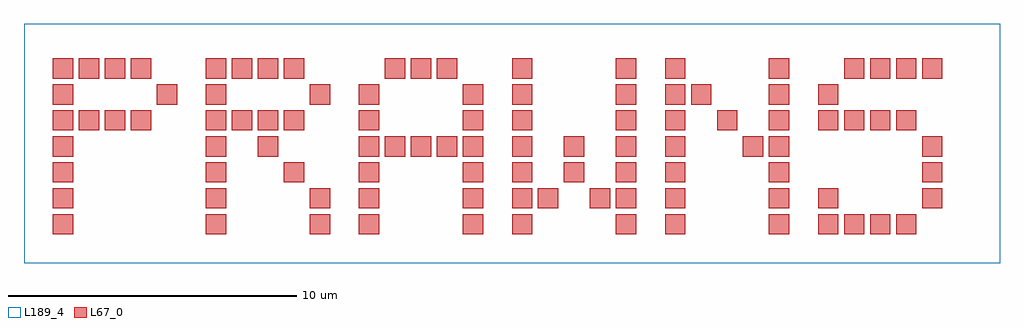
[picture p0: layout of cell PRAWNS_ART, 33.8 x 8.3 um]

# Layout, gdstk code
import gdstk
lib = gdstk.Library(unit=1e-6, precision=1e-09)
def R(c, l, rs):  # rectangles x0, y0, x1, y1
    for r in rs: c.add(gdstk.rectangle(r[:2], r[2:], *l))
def A(c, l, x, y, w, h, nx, ny, dx, dy):  # array of equal rectangles
    R(c, l, [(x+i*dx, y+j*dy, x+i*dx+w, y+j*dy+h) for i in range(nx) for j in range(ny)])
L67_0 = (67, 0)
L189_4 = (189, 4)

prawns_art = lib.new_cell('PRAWNS_ART')
A(prawns_art, L67_0, 11.6, 1, 0.699, 0.7, 3, 2, 5.3, 0.899)
A(prawns_art, L67_0, 13.399, 3.699, 0.7, 0.7, 3, 1, 0.9, 0)
A(prawns_art, L67_0, 11.6, 4.6, 0.699, 0.7, 3, 2, 5.3, 0.9)
R(prawns_art, L67_0, [(1,1,1.7,1.7), (6.3,1,7,1.7), (9.899,1,10.599,1.7), (15.199,1,15.899,1.7), (20.5,1,21.2,1.7), (25.799,1,26.499,1.7), (27.5,1,28.2,1.7), (28.399,1,29.099,1.7), (29.3,1,30,1.7), (30.2,1,30.899,1.7), (1,1.899,1.7,2.599), (6.3,1.899,7,2.599), (9.899,1.899,10.599,2.599), (15.199,1.899,15.899,2.599), (17.799,1.899,18.499,2.599), (19.599,1.899,20.299,2.599), (20.5,1.899,21.2,2.599), (25.799,1.899,26.499,2.599), (27.5,1.899,28.2,2.599), (31.1,1.899,31.8,2.599), (1,2.799,1.7,3.5), (6.3,2.799,7,3.5), (9,2.799,9.699,3.5), (11.6,2.799,12.299,3.5), (15.199,2.799,15.899,3.5), (16.9,2.799,17.599,3.5), (18.7,2.799,19.399,3.5), (20.5,2.799,21.2,3.5), (22.2,2.799,22.899,3.5), (25.799,2.799,26.499,3.5), (31.1,2.799,31.8,3.5), (1,3.699,1.7,4.399), (6.3,3.699,7,4.399), (8.099,3.699,8.799,4.399), (11.6,3.699,12.299,4.399), (12.5,3.699,13.199,4.399), (16.9,3.699,17.599,4.399), (18.7,3.699,19.399,4.399), (20.5,3.699,21.2,4.399), (22.2,3.699,22.899,4.399), (24.899,3.699,25.599,4.399), (25.799,3.699,26.499,4.399), (31.1,3.699,31.8,4.399), (1,4.6,1.7,5.3), (1.899,4.6,2.599,5.3), (2.799,4.6,3.5,5.3), (3.699,4.6,4.399,5.3), (6.3,4.6,7,5.3), (7.199,4.6,7.899,5.3), (8.099,4.6,8.799,5.3), (9,4.6,9.699,5.3), (15.199,4.6,15.899,5.3), (20.5,4.6,21.2,5.3), (24,4.6,24.7,5.3), (25.799,4.6,26.499,5.3), (27.5,4.6,28.2,5.3), (28.399,4.6,29.099,5.3), (29.3,4.6,30,5.3), (30.2,4.6,30.899,5.3), (1,5.5,1.7,6.2), (4.6,5.5,5.3,6.2), (6.3,5.5,7,6.2), (9.899,5.5,10.599,6.2), (15.199,5.5,15.899,6.2), (20.5,5.5,21.2,6.2), (23.099,5.5,23.799,6.2), (25.799,5.5,26.499,6.2), (27.5,5.5,28.2,6.2), (1,6.399,1.7,7.099), (1.899,6.399,2.599,7.099), (2.799,6.399,3.5,7.099), (3.699,6.399,4.399,7.099), (6.3,6.399,7,7.099), (7.199,6.399,7.899,7.099), (8.099,6.399,8.799,7.099), (9,6.399,9.699,7.099), (12.5,6.399,13.199,7.099), (13.399,6.399,14.099,7.099), (14.299,6.399,14.999,7.099), (16.9,6.399,17.599,7.099), (20.5,6.399,21.2,7.099), (22.2,6.399,22.899,7.099), (25.799,6.399,26.499,7.099), (28.399,6.399,29.099,7.099), (29.3,6.399,30,7.099), (30.2,6.399,30.899,7.099), (31.1,6.399,31.8,7.099)])
R(prawns_art, L189_4, [(0,0,33.8,8.299)])

lib.write_gds('PRAWNS_ART.gds')
